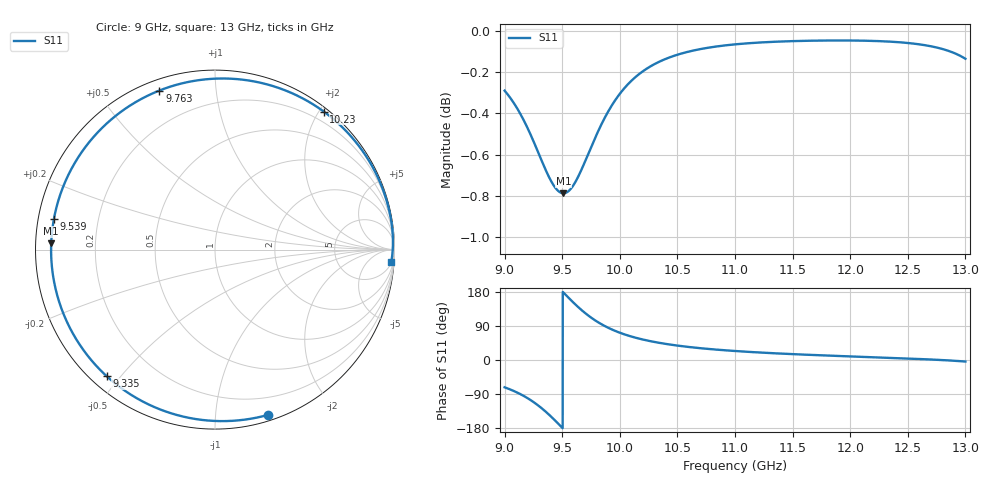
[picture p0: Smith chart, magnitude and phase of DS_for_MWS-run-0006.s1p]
! TOUCHSTONE file generated by CST DESIGN STUDIO
! Date and time: Tue Feb  4 17:54:09 2025
! Project name: C:\Work\MatlabApps\UnitCellOptimizationMatlab\CST\unitcell.cst
! Tree item: Tasks\Sweep1\SPara1\S-Parameters
! Header version: 2024
! Port assignment regex: !\s*Touchstone port\s*([0-9]+)\s*=\s*(CST MWS port|CST DES external port|CST DES block port)\s*(.+)\s* \(\"(.*)\"\)(\s*mode\s*([0-9]+))?.*
! Touchstone port assignment:
! Touchstone port 1 = CST DES external port 1 ("")
# GHz S MA R 50
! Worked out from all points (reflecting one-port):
!   4001 points, 9 GHz to 13 GHz, reference 50 ohm
!   lowest |S11| = -0.8 dB at 9.511 GHz (marker M1), VSWR 22.05, Z = 2.27 + j0.929 ohm
!   phase of S11 starts at -72 deg and turns -292 deg over the sweep
!   S11 on the Smith chart (normalised r, x): 9 GHz: 0.05, -1.37; 9.335 GHz: 0.05, -0.46; 9.539 GHz: 0.05, +0.09; 9.763 GHz: 0.05, +0.71; 10.23 GHz: 0.06, +2.06; 13 GHz: 6, -27
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9  0.9672 -72.1
9.091  0.9595 -83.3
9.195  0.9477 -99.9
9.268  0.9378 -114.6
9.335  0.9282 -130.6
9.379  0.9223 -142.4
9.425  0.9174 -155.7
9.463  0.9146 -167.2
9.5  0.9133 -178.7
9.511  0.9132 177.9
9.539  0.9137 169.2
9.592  0.9169 153.1
9.654  0.9237 135.5
9.707  0.9309 121.9
9.763  0.9388 109.3
9.811  0.9454 99.7
9.865  0.9521 90.4
10  0.9655 72.0
10.109  0.9731 61.2
10.233  0.9792 51.8
10.357  0.9834 44.5
10.5  0.9869 38.0
10.722  0.9903 30.5
11  0.9926 23.7
11.5  0.9944 15.5
12  0.9948 9.5
12.5  0.9934 3.9
13  0.9846 -4.0
